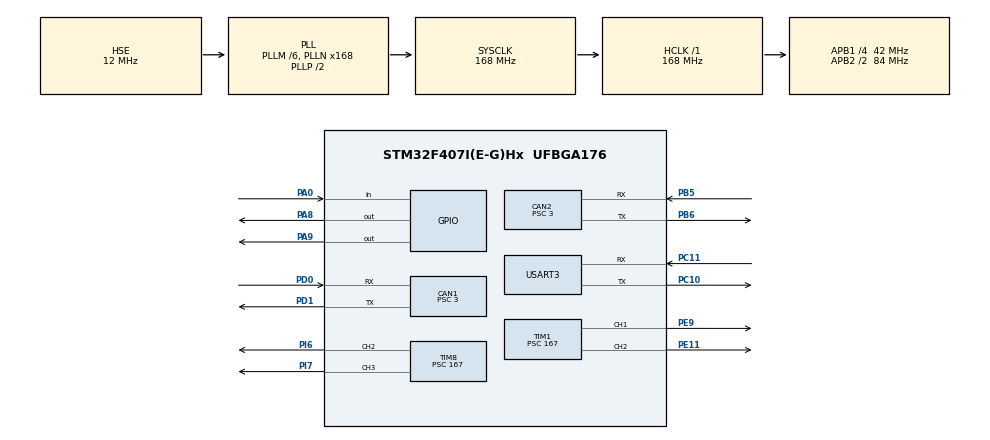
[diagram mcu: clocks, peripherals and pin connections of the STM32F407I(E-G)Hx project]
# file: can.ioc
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CAN1.BS1=CAN_BS1_10TQ
CAN1.BS2=CAN_BS2_3TQ
CAN1.CalculateBaudRate=1000000
CAN1.CalculateTimeQuantum=71.42857142857143
CAN1.Prescaler=3
CAN2.BS1=CAN_BS1_10TQ
CAN2.BS2=CAN_BS2_3TQ
CAN2.CalculateBaudRate=1000000
CAN2.CalculateTimeQuantum=71.42857142857143
CAN2.Prescaler=3
Dma.Request0=USART3_RX
Dma.Request1=USART3_TX
Dma.USART3_RX.0.Direction=DMA_PERIPH_TO_MEMORY
Dma.USART3_RX.0.FIFOMode=DMA_FIFOMODE_DISABLE
Dma.USART3_RX.0.Instance=DMA1_Stream1
Dma.USART3_RX.0.MemDataAlignment=DMA_MDATAALIGN_BYTE
Dma.USART3_RX.0.MemInc=DMA_MINC_ENABLE
Dma.USART3_RX.0.Mode=DMA_CIRCULAR
Dma.USART3_RX.0.PeriphDataAlignment=DMA_PDATAALIGN_BYTE
Dma.USART3_RX.0.PeriphInc=DMA_PINC_DISABLE
Dma.USART3_RX.0.Priority=DMA_PRIORITY_LOW
Dma.USART3_TX.1.Direction=DMA_MEMORY_TO_PERIPH
Dma.USART3_TX.1.FIFOMode=DMA_FIFOMODE_DISABLE
Dma.USART3_TX.1.Instance=DMA1_Stream3
Dma.USART3_TX.1.MemDataAlignment=DMA_MDATAALIGN_BYTE
Dma.USART3_TX.1.MemInc=DMA_MINC_ENABLE
Dma.USART3_TX.1.Mode=DMA_CIRCULAR
Dma.USART3_TX.1.PeriphDataAlignment=DMA_PDATAALIGN_BYTE
Dma.USART3_TX.1.PeriphInc=DMA_PINC_DISABLE
Dma.USART3_TX.1.Priority=DMA_PRIORITY_LOW
Mcu.Family=STM32F4
Mcu.Name=STM32F407I(E-G)Hx
Mcu.Package=UFBGA176
NVIC.CAN1_RX0_IRQn=true\:0\:0\:false\:false\:true\:true\:true\:true
NVIC.CAN2_RX0_IRQn=true\:0\:0\:false\:false\:true\:true\:true\:true
NVIC.DMA1_Stream1_IRQn=true\:0\:0\:false\:false\:true\:false\:true\:true
NVIC.DMA1_Stream3_IRQn=true\:0\:0\:false\:false\:true\:false\:true\:true
NVIC.PriorityGroup=NVIC_PRIORITYGROUP_4
NVIC.TIM5_IRQn=true\:0\:0\:false\:false\:true\:true\:true\:true
NVIC.USART3_IRQn=true\:0\:0\:false\:false\:true\:true\:true\:true
PA0-WKUP.GPIO_PuPd=GPIO_PULLUP
PA0-WKUP.Signal=GPIO_Input
PA13.Mode=Serial_Wire
PA13.Signal=SYS_JTMS-SWDIO
PA14.Mode=Serial_Wire
PA14.Signal=SYS_JTCK-SWCLK
PA8.Signal=GPIO_Output
PA9.Signal=GPIO_Output
PB5.Mode=CAN_Activate
PB5.Signal=CAN2_RX
PB6.Mode=CAN_Activate
PB6.Signal=CAN2_TX
PC10.Mode=Asynchronous
PC10.Signal=USART3_TX
PC11.Mode=Asynchronous
PC11.Signal=USART3_RX
PD0.Mode=CAN_Activate
PD0.Signal=CAN1_RX
PD1.Mode=CAN_Activate
PD1.Signal=CAN1_TX
PE11.Signal=S_TIM1_CH2
PE9.Signal=S_TIM1_CH1
PH0-OSC_IN.Mode=HSE-External-Oscillator
PH0-OSC_IN.Signal=RCC_OSC_IN
PH1-OSC_OUT.Mode=HSE-External-Oscillator
PH1-OSC_OUT.Signal=RCC_OSC_OUT
PI6.Signal=S_TIM8_CH2
PI7.Signal=S_TIM8_CH3
ProjectManager.HeapSize=0x200
ProjectManager.StackSize=0x400
ProjectManager.TargetToolchain=MDK-ARM V5
RCC.48MHZClocksFreq_Value=84000000
RCC.AHBFreq_Value=168000000
RCC.APB1CLKDivider=RCC_HCLK_DIV4
RCC.APB1Freq_Value=42000000
RCC.APB1TimFreq_Value=84000000
RCC.APB2CLKDivider=RCC_HCLK_DIV2
RCC.APB2Freq_Value=84000000
RCC.APB2TimFreq_Value=168000000
RCC.CortexFreq_Value=168000000
RCC.HCLKFreq_Value=168000000
RCC.HSE_VALUE=12000000
RCC.HSI_VALUE=16000000
RCC.LSE_VALUE=32768
RCC.PLLM=6
RCC.PLLN=168
RCC.PLLSourceVirtual=RCC_PLLSOURCE_HSE
RCC.SYSCLKFreq_VALUE=168000000
RCC.SYSCLKSource=RCC_SYSCLKSOURCE_PLLCLK
RCC.VCOOutputFreq_Value=336000000
SH.S_TIM1_CH1.0=TIM1_CH1,PWM Generation1 CH1
SH.S_TIM1_CH2.0=TIM1_CH2,PWM Generation2 CH2
SH.S_TIM8_CH2.0=TIM8_CH2,PWM Generation2 CH2
SH.S_TIM8_CH3.0=TIM8_CH3,PWM Generation3 CH3
TIM1.Channel-PWM\ Generation1\ CH1=TIM_CHANNEL_1
TIM1.Channel-PWM\ Generation2\ CH2=TIM_CHANNEL_2
TIM1.Period=999
TIM1.Prescaler=167
TIM5.Period=999999
TIM5.Prescaler=83
TIM8.Channel-PWM\ Generation2\ CH2=TIM_CHANNEL_2
TIM8.Channel-PWM\ Generation3\ CH3=TIM_CHANNEL_3
TIM8.Period=999
TIM8.Prescaler=167
USART3.VirtualMode=VM_ASYNC
VP_TIM1_VS_ClockSourceINT.Mode=Internal
VP_TIM5_VS_ClockSourceINT.Mode=Internal
VP_TIM8_VS_ClockSourceINT.Mode=Internal
board=custom

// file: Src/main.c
/* USER CODE BEGIN Header */
/**
  ******************************************************************************
  * @file           : main.c
  * @brief          : Main program body
  ******************************************************************************
  * @attention
  *
  * <h2><center>&copy; Copyright (c) 2019 STMicroelectronics.
  * All rights reserved.</center></h2>
  *
  * This software component is licensed by ST under BSD 3-Clause license,
  * the "License"; You may not use this file except in compliance with the
  * License. You may obtain a copy of the License at:
  *                        opensource.org/licenses/BSD-3-Clause
  *
  ******************************************************************************
  */
/* USER CODE END Header */
#include "main.h"
#include "can.h"
#include "dma.h"
#include "tim.h"
#include "usart.h"
#include "gpio.h"

/* USER CODE BEGIN Includes */
#include "bsp_can.h"
#include "CAN_receive.h"
/* USER CODE END Includes */

/* USER CODE BEGIN PTD */
#include "pid.h"
#include "remote_control.h"

/* USER CODE END PTD */

/* USER CODE BEGIN PV */
pid_type_def motor0_pid;
pid_type_def motor1_pid;
pid_type_def motor2_pid;
pid_type_def motor3_pid;
pid_type_def motor4_pid;
pid_type_def motor5_pid;
pid_type_def motor6_pid;
pid_type_def motor7_pid;

const RC_ctrl_t *local_rc_ctrl;

const motor_measure_t *motor_data0;	//声明电机结构体
const motor_measure_t *motor_data1;	//声明电机结构体
const motor_measure_t *motor_data2;	//声明电机结构体
const motor_measure_t *motor_data3;	//声明电机结构体
const motor_measure_t *motor_data4;	//声明电机结构体
const motor_measure_t *motor_data5;	//声明电机结构体
const motor_measure_t *motor_data6;	//声明电机结构体
const motor_measure_t *motor_data7;
int set_speed = 0;							//目标速度
const fp32 PID[3]={5,0.01f,0};	//P,I,D
uint16_t Fire_Speed = 0;//通过PWM调整射速，0-999
/* USER CODE END PV */

void SystemClock_Config(void);

int main(void)
{

  /* MCU Configuration--------------------------------------------------------*/

  /* Reset of all peripherals, Initializes the Flash interface and the Systick. */
  HAL_Init();

  /* Configure the system clock */
  SystemClock_Config();

  /* Initialize all configured peripherals */
  MX_GPIO_Init();
  MX_DMA_Init();
  MX_CAN1_Init();
  MX_CAN2_Init();
  MX_TIM8_Init();
  MX_USART3_UART_Init();
  MX_TIM1_Init();
  MX_TIM5_Init();
  /* USER CODE BEGIN 2 */
  HAL_TIM_PWM_Start(&htim1,TIM_CHANNEL_1);
  HAL_TIM_PWM_Start(&htim1,TIM_CHANNEL_2);

    can_filter_init();
	PID_init(&motor0_pid,PID_DELTA,PID,16000,2000);
	PID_init(&motor1_pid,PID_DELTA,PID,16000,2000);
	PID_init(&motor2_pid,PID_POSITION,PID,16000,2000);
	PID_init(&motor3_pid,PID_POSITION,PID,16000,2000);
	PID_init(&motor4_pid,PID_POSITION,PID,16000,2000);
	PID_init(&motor5_pid,PID_POSITION,PID,16000,2000);
	PID_init(&motor6_pid,PID_POSITION,PID,16000,2000);
	PID_init(&motor7_pid,PID_POSITION,PID,16000,2000);

	motor_data0 = get_chassis_motor_measure_point(0);
	motor_data1 = get_chassis_motor_measure_point(1);
	motor_data2 = get_chassis_motor_measure_point(2);
	motor_data3 = get_chassis_motor_measure_point(3);
	motor_data4 = get_chassis_motor_measure_point(4);
	motor_data5 = get_chassis_motor_measure_point(5);
	motor_data6 = get_chassis_motor_measure_point(6);
	motor_data7 = get_chassis_motor_measure_point(7);
  /* USER CODE END 2 */

  /* Infinite loop */
  while (1)
  {

    /* USER CODE BEGIN 3 */

	  Fire_Speed = 5000;
	__HAL_TIM_SET_COMPARE(&htim1,TIM_CHANNEL_1,Fire_Speed);
	__HAL_TIM_SET_COMPARE(&htim1,TIM_CHANNEL_2,Fire_Speed);//调整开火速度

      set_speed=1000;
				CAN_cmd_chassis(motor0_pid.out, motor1_pid.out, motor2_pid.out, motor3_pid.out);
//				CAN_cmd_gimbal(motor4_pid.out, motor5_pid.out, motor6_pid.out, motor7_pid.out);
				HAL_Delay(10);

		PID_calc(&motor0_pid,motor_data0->speed_rpm,set_speed);
		PID_calc(&motor1_pid,motor_data1->speed_rpm,set_speed);
		PID_calc(&motor2_pid,motor_data2->speed_rpm,set_speed);
		PID_calc(&motor3_pid,motor_data3->speed_rpm,set_speed);

  }
  /* USER CODE END 3 */
}

void SystemClock_Config(void)
{
  RCC_OscInitTypeDef RCC_OscInitStruct = {0};
  RCC_ClkInitTypeDef RCC_ClkInitStruct = {0};

  /** Configure the main internal regulator output voltage
  */
  __HAL_RCC_PWR_CLK_ENABLE();
  __HAL_PWR_VOLTAGESCALING_CONFIG(PWR_REGULATOR_VOLTAGE_SCALE1);

  /** Initializes the RCC Oscillators according to the specified parameters
  * in the RCC_OscInitTypeDef structure.
  */
  RCC_OscInitStruct.OscillatorType = RCC_OSCILLATORTYPE_HSE;
  RCC_OscInitStruct.HSEState = RCC_HSE_ON;
  RCC_OscInitStruct.PLL.PLLState = RCC_PLL_ON;
  RCC_OscInitStruct.PLL.PLLSource = RCC_PLLSOURCE_HSE;
  RCC_OscInitStruct.PLL.PLLM = 6;
  RCC_OscInitStruct.PLL.PLLN = 168;
  RCC_OscInitStruct.PLL.PLLP = RCC_PLLP_DIV2;
  RCC_OscInitStruct.PLL.PLLQ = 4;
  if (HAL_RCC_OscConfig(&RCC_OscInitStruct) != HAL_OK)
  {
    Error_Handler();
  }

  /** Initializes the CPU, AHB and APB buses clocks
  */
  RCC_ClkInitStruct.ClockType = RCC_CLOCKTYPE_HCLK|RCC_CLOCKTYPE_SYSCLK
                              |RCC_CLOCKTYPE_PCLK1|RCC_CLOCKTYPE_PCLK2;
  RCC_ClkInitStruct.SYSCLKSource = RCC_SYSCLKSOURCE_PLLCLK;
  RCC_ClkInitStruct.AHBCLKDivider = RCC_SYSCLK_DIV1;
  RCC_ClkInitStruct.APB1CLKDivider = RCC_HCLK_DIV4;
  RCC_ClkInitStruct.APB2CLKDivider = RCC_HCLK_DIV2;

  if (HAL_RCC_ClockConfig(&RCC_ClkInitStruct, FLASH_LATENCY_5) != HAL_OK)
  {
    Error_Handler();
  }
}

void Error_Handler(void)
{
}
